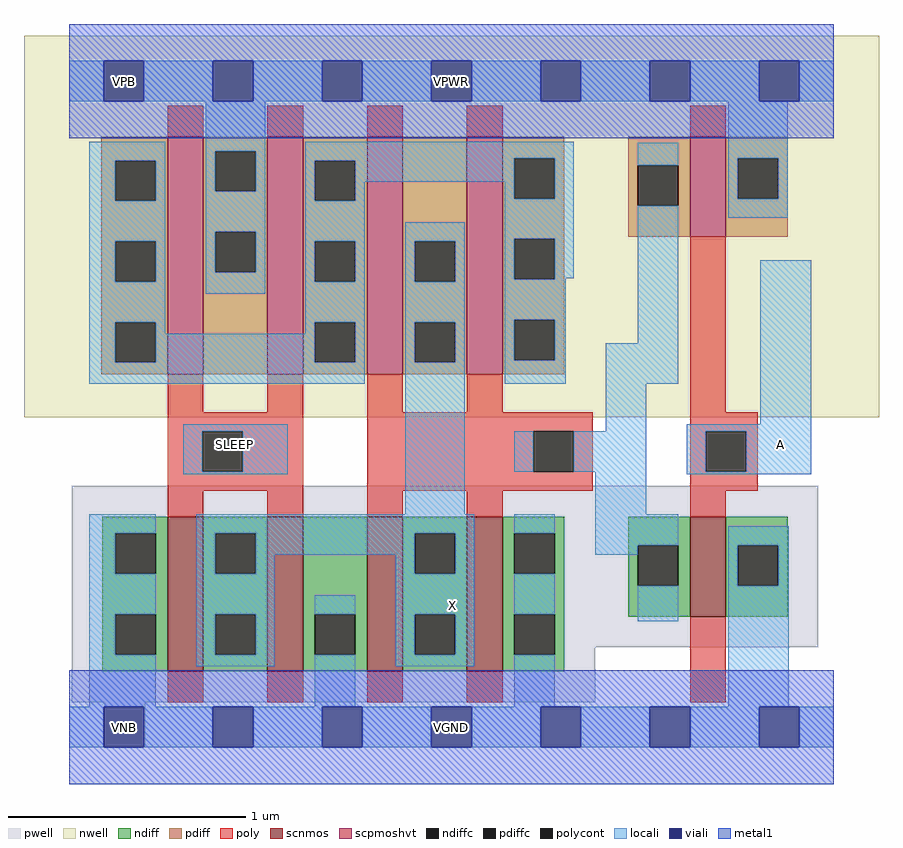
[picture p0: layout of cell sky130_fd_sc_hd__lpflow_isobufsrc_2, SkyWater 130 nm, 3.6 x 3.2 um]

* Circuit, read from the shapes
.subckt sky130_fd_sc_hd__lpflow_isobufsrc_2 A SLEEP VGND VNB VPB VPWR X
XM1 X SLEEP VGND VNB sky130_fd_pr__nfet_01v8 w=0.65 l=0.15 m=2
XM2 X n1 VGND VNB sky130_fd_pr__nfet_01v8 w=0.65 l=0.15 m=2
XM3 VGND A n1 VNB sky130_fd_pr__nfet_01v8 w=0.42 l=0.15
XM4 VPWR SLEEP n2 VPB sky130_fd_pr__pfet_01v8_hvt w=1 l=0.15 m=2
XM5 X n1 n2 VPB sky130_fd_pr__pfet_01v8_hvt w=1 l=0.15 m=2
XM6 VPWR A n1 VPB sky130_fd_pr__pfet_01v8_hvt w=0.42 l=0.15
.ends

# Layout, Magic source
magic
tech sky130B
magscale 1 2
<< nwell >>
rect -38 261 682 582
<< pwell >>
rect 2 67 631 203
rect 2 21 443 67
rect 30 -17 64 21
<< scnmos >>
rect 83 47 113 177
rect 167 47 197 177
rect 251 47 281 177
rect 335 47 365 177
rect 523 93 553 177
<< scpmoshvt >>
rect 83 297 113 497
rect 167 297 197 497
rect 251 297 281 497
rect 335 297 365 497
rect 523 413 553 497
<< ndiff >>
rect 28 163 83 177
rect 28 129 39 163
rect 73 129 83 163
rect 28 95 83 129
rect 28 61 39 95
rect 73 61 83 95
rect 28 47 83 61
rect 113 163 167 177
rect 113 129 123 163
rect 157 129 167 163
rect 113 95 167 129
rect 113 61 123 95
rect 157 61 167 95
rect 113 47 167 61
rect 197 95 251 177
rect 197 61 207 95
rect 241 61 251 95
rect 197 47 251 61
rect 281 163 335 177
rect 281 129 291 163
rect 325 129 335 163
rect 281 95 335 129
rect 281 61 291 95
rect 325 61 335 95
rect 281 47 335 61
rect 365 163 417 177
rect 365 129 375 163
rect 409 129 417 163
rect 365 95 417 129
rect 365 61 375 95
rect 409 61 417 95
rect 471 153 523 177
rect 471 119 479 153
rect 513 119 523 153
rect 471 93 523 119
rect 553 153 605 177
rect 553 119 563 153
rect 597 119 605 153
rect 553 93 605 119
rect 365 47 417 61
<< pdiff >>
rect 27 477 83 497
rect 27 443 39 477
rect 73 443 83 477
rect 27 409 83 443
rect 27 375 39 409
rect 73 375 83 409
rect 27 341 83 375
rect 27 307 39 341
rect 73 307 83 341
rect 27 297 83 307
rect 113 485 167 497
rect 113 451 123 485
rect 157 451 167 485
rect 113 417 167 451
rect 113 383 123 417
rect 157 383 167 417
rect 113 297 167 383
rect 197 477 251 497
rect 197 443 207 477
rect 241 443 251 477
rect 197 409 251 443
rect 197 375 207 409
rect 241 375 251 409
rect 197 341 251 375
rect 197 307 207 341
rect 241 307 251 341
rect 197 297 251 307
rect 281 409 335 497
rect 281 375 291 409
rect 325 375 335 409
rect 281 341 335 375
rect 281 307 291 341
rect 325 307 335 341
rect 281 297 335 307
rect 365 479 417 497
rect 365 445 375 479
rect 409 445 417 479
rect 365 411 417 445
rect 471 473 523 497
rect 471 439 479 473
rect 513 439 523 473
rect 471 413 523 439
rect 553 479 605 497
rect 553 445 563 479
rect 597 445 605 479
rect 553 413 605 445
rect 365 377 375 411
rect 409 377 417 411
rect 365 343 417 377
rect 365 309 375 343
rect 409 309 417 343
rect 365 297 417 309
<< ndiffc >>
rect 39 129 73 163
rect 39 61 73 95
rect 123 129 157 163
rect 123 61 157 95
rect 207 61 241 95
rect 291 129 325 163
rect 291 61 325 95
rect 375 129 409 163
rect 375 61 409 95
rect 479 119 513 153
rect 563 119 597 153
<< pdiffc >>
rect 39 443 73 477
rect 39 375 73 409
rect 39 307 73 341
rect 123 451 157 485
rect 123 383 157 417
rect 207 443 241 477
rect 207 375 241 409
rect 207 307 241 341
rect 291 375 325 409
rect 291 307 325 341
rect 375 445 409 479
rect 479 439 513 473
rect 563 445 597 479
rect 375 377 409 411
rect 375 309 409 343
<< poly >>
rect 83 497 113 523
rect 167 497 197 523
rect 251 497 281 523
rect 335 497 365 523
rect 523 497 553 523
rect 83 265 113 297
rect 167 265 197 297
rect 83 249 197 265
rect 83 215 112 249
rect 146 215 197 249
rect 83 199 197 215
rect 83 177 113 199
rect 167 177 197 199
rect 251 265 281 297
rect 335 265 365 297
rect 523 265 553 413
rect 251 249 441 265
rect 251 215 391 249
rect 425 215 441 249
rect 251 199 441 215
rect 523 249 580 265
rect 523 215 536 249
rect 570 215 580 249
rect 523 199 580 215
rect 251 177 281 199
rect 335 177 365 199
rect 523 177 553 199
rect 83 21 113 47
rect 167 21 197 47
rect 251 21 281 47
rect 335 21 365 47
rect 523 21 553 93
<< polycont >>
rect 112 215 146 249
rect 391 215 425 249
rect 536 215 570 249
<< locali >>
rect 0 527 29 561
rect 63 527 121 561
rect 155 527 213 561
rect 247 527 305 561
rect 339 527 397 561
rect 431 527 489 561
rect 523 527 581 561
rect 615 527 644 561
rect 17 477 81 493
rect 17 443 39 477
rect 73 443 81 477
rect 17 409 81 443
rect 17 375 39 409
rect 73 375 81 409
rect 17 341 81 375
rect 115 485 165 527
rect 115 451 123 485
rect 157 451 165 485
rect 115 417 165 451
rect 115 383 123 417
rect 157 383 165 417
rect 115 365 165 383
rect 199 479 425 493
rect 199 477 375 479
rect 199 443 207 477
rect 241 459 375 477
rect 241 443 249 459
rect 199 409 249 443
rect 367 445 375 459
rect 409 445 425 479
rect 199 375 207 409
rect 241 375 249 409
rect 17 307 39 341
rect 73 331 81 341
rect 199 341 249 375
rect 199 331 207 341
rect 73 307 207 331
rect 241 307 249 341
rect 17 289 249 307
rect 283 409 333 425
rect 283 375 291 409
rect 325 375 333 409
rect 283 341 333 375
rect 283 307 291 341
rect 325 307 333 341
rect 96 249 184 255
rect 96 215 112 249
rect 146 215 184 249
rect 96 213 184 215
rect 283 179 333 307
rect 367 411 425 445
rect 367 377 375 411
rect 409 378 425 411
rect 479 473 513 492
rect 409 377 418 378
rect 367 343 418 377
rect 367 309 375 343
rect 409 309 418 343
rect 479 323 513 439
rect 555 479 605 527
rect 555 445 563 479
rect 597 445 605 479
rect 555 429 605 445
rect 367 289 418 309
rect 452 289 513 323
rect 452 249 486 289
rect 582 255 625 393
rect 375 215 391 249
rect 425 215 486 249
rect 443 179 486 215
rect 520 249 625 255
rect 520 215 536 249
rect 570 215 625 249
rect 520 213 625 215
rect 17 163 73 179
rect 17 129 39 163
rect 17 95 73 129
rect 17 61 39 95
rect 17 17 73 61
rect 107 163 341 179
rect 107 129 123 163
rect 157 145 291 163
rect 157 129 173 145
rect 107 95 173 129
rect 275 129 291 145
rect 325 129 341 163
rect 107 61 123 95
rect 157 61 173 95
rect 107 51 173 61
rect 207 95 241 111
rect 207 17 241 61
rect 275 95 341 129
rect 275 61 291 95
rect 325 61 341 95
rect 275 51 341 61
rect 375 163 409 179
rect 443 153 513 179
rect 443 145 479 153
rect 375 95 409 129
rect 479 89 513 119
rect 555 153 606 169
rect 555 119 563 153
rect 597 119 606 153
rect 375 17 409 61
rect 555 17 606 119
rect 0 -17 29 17
rect 63 -17 121 17
rect 155 -17 213 17
rect 247 -17 305 17
rect 339 -17 397 17
rect 431 -17 489 17
rect 523 -17 581 17
rect 615 -17 644 17
<< viali >>
rect 29 527 63 561
rect 121 527 155 561
rect 213 527 247 561
rect 305 527 339 561
rect 397 527 431 561
rect 489 527 523 561
rect 581 527 615 561
rect 29 -17 63 17
rect 121 -17 155 17
rect 213 -17 247 17
rect 305 -17 339 17
rect 397 -17 431 17
rect 489 -17 523 17
rect 581 -17 615 17
<< metal1 >>
rect 0 561 644 592
rect 0 527 29 561
rect 63 527 121 561
rect 155 527 213 561
rect 247 527 305 561
rect 339 527 397 561
rect 431 527 489 561
rect 523 527 581 561
rect 615 527 644 561
rect 0 496 644 527
rect 0 17 644 48
rect 0 -17 29 17
rect 63 -17 121 17
rect 155 -17 213 17
rect 247 -17 305 17
rect 339 -17 397 17
rect 431 -17 489 17
rect 523 -17 581 17
rect 615 -17 644 17
rect 0 -48 644 -17
<< labels >>
flabel locali s 582 221 616 255 0 FreeSans 400 0 0 0 A
port 1 nsew signal input
flabel locali s 122 221 156 255 0 FreeSans 200 0 0 0 SLEEP
port 2 nsew signal input
flabel locali s 306 85 340 119 0 FreeSans 400 0 0 0 X
port 7 nsew signal output
flabel nwell s 30 527 64 561 0 FreeSans 200 0 0 0 VPB
port 5 nsew power bidirectional
flabel pwell s 30 -17 64 17 0 FreeSans 200 0 0 0 VNB
port 4 nsew ground bidirectional
flabel metal1 s 30 -17 64 17 0 FreeSans 200 0 0 0 VGND
port 3 nsew ground bidirectional abutment
flabel metal1 s 30 527 64 561 0 FreeSans 200 0 0 0 VPWR
port 6 nsew power bidirectional abutment
rlabel comment s 0 0 0 0 4 lpflow_isobufsrc_2
rlabel metal1 s 0 -48 644 48 1 VGND
port 3 nsew ground bidirectional abutment
rlabel metal1 s 0 496 644 592 1 VPWR
port 6 nsew power bidirectional abutment
<< properties >>
string FIXED_BBOX 0 0 644 544
string GDS_END 2381162
string GDS_FILE $PDKPATH/libs.ref/sky130_fd_sc_hd/gds/sky130_fd_sc_hd.gds
string GDS_START 2375220
string LEFclass CORE
string LEFsite unithd
string LEFsymmetry X Y R90
string path 0.000 0.000 16.100 0.000 
<< end >>
